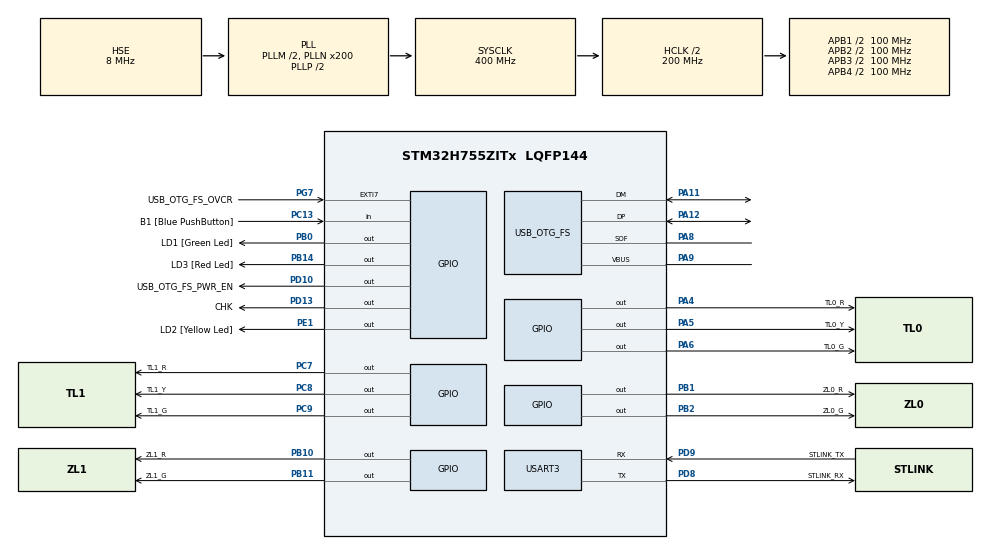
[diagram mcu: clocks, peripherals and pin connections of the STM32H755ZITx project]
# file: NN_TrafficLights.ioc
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CortexM4.IPs=FATFS_M4\:I,FREERTOS_M4\:I,IWDG2\:I,RCC,WWDG2\:I,DMA,BDMA,MDMA,NVIC2\:I,DEBUG,USB_DEVICE_M4\:I,USB_HOST_M4\:I,PDM2PCM_M4\:I,PWR,RESMGR_UTILITY,SYS_M4\:I,CORTEX_M4\:I,OPENAMP_M4\:I,VREFBUF
CortexM7.IPs=FATFS_M7\:I,FREERTOS_M7\:I,IWDG1\:I,RCC\:I,WWDG1\:I,DMA\:I,BDMA\:I,MDMA\:I,NVIC1\:I,USART3\:I,USB_OTG_FS\:I,SYS\:I,CORTEX_M7\:I,DEBUG\:I,USB_DEVICE_M7\:I,USB_HOST_M7\:I,PDM2PCM_M7\:I,PWR\:I,RESMGR_UTILITY\:I,OPENAMP_M7\:I,VREFBUF\:I,TIM2\:I,TIM4\:I,RNG\:I
CortexM7.Pins=PA4,PA5,PA6,PB0,PB1,PB2,PB10,PB11,PB14,PD13,PC7,PC8,PC9,PE1
Mcu.Family=STM32H7
Mcu.Name=STM32H755ZITx
Mcu.Package=LQFP144
NVIC1.PriorityGroup=NVIC_PRIORITYGROUP_4
NVIC1.TIM2_IRQn=true\:0\:0\:false\:false\:true\:true\:true
NVIC1.TIM4_IRQn=true\:0\:0\:false\:false\:true\:true\:true
NVIC1.USART3_IRQn=true\:0\:0\:false\:false\:true\:true\:true
NVIC2.PriorityGroup=NVIC_PRIORITYGROUP_4
PA11.Mode=Device_Only
PA11.PinAttribute=CortexM7
PA11.Signal=USB_OTG_FS_DM
PA12.Mode=Device_Only
PA12.PinAttribute=CortexM7
PA12.Signal=USB_OTG_FS_DP
PA4.GPIO_Label=TL0_R
PA4.PinAttribute=CortexM7
PA4.Signal=GPIO_Output
PA5.GPIO_Label=TL0_Y
PA5.PinAttribute=CortexM7
PA5.Signal=GPIO_Output
PA6.GPIO_Label=TL0_G
PA6.PinAttribute=CortexM7
PA6.Signal=GPIO_Output
PA8.Mode=Activate_SOF_FS
PA8.PinAttribute=CortexM7
PA8.Signal=USB_OTG_FS_SOF
PA9.Mode=Activate_VBUS
PA9.PinAttribute=CortexM7
PA9.Signal=USB_OTG_FS_VBUS
PB0.GPIO_Label=LD1 [Green Led]
PB0.PinAttribute=CortexM7
PB0.Signal=GPIO_Output
PB1.GPIO_Label=ZL0_R
PB1.PinAttribute=CortexM7
PB1.Signal=GPIO_Output
PB10.GPIO_Label=ZL1_R
PB10.PinAttribute=CortexM7
PB10.Signal=GPIO_Output
PB11.GPIO_Label=ZL1_G
PB11.PinAttribute=CortexM7
PB11.Signal=GPIO_Output
PB14.GPIO_Label=LD3 [Red Led]
PB14.PinAttribute=CortexM7
PB14.Signal=GPIO_Output
PB2.GPIO_Label=ZL0_G
PB2.PinAttribute=CortexM7
PB2.Signal=GPIO_Output
PC13.GPIO_Label=B1 [Blue PushButton]
PC13.PinAttribute=Free
PC13.Signal=GPIO_Input
PC14-OSC32_IN\ (OSC32_IN).Mode=LSE-External-Oscillator
PC14-OSC32_IN\ (OSC32_IN).PinAttribute=CortexM7
PC14-OSC32_IN\ (OSC32_IN).Signal=RCC_OSC32_IN
PC15-OSC32_OUT\ (OSC32_OUT).Mode=LSE-External-Oscillator
PC15-OSC32_OUT\ (OSC32_OUT).PinAttribute=CortexM7
PC15-OSC32_OUT\ (OSC32_OUT).Signal=RCC_OSC32_OUT
PC7.GPIO_Label=TL1_R
PC7.PinAttribute=CortexM7
PC7.Signal=GPIO_Output
PC8.GPIO_Label=TL1_Y
PC8.PinAttribute=CortexM7
PC8.Signal=GPIO_Output
PC9.GPIO_Label=TL1_G
PC9.PinAttribute=CortexM7
PC9.Signal=GPIO_Output
PD10.GPIO_Label=USB_OTG_FS_PWR_EN
PD10.PinAttribute=Free
PD10.Signal=GPIO_Output
PD13.GPIO_Label=CHK
PD13.GPIO_Speed=GPIO_SPEED_FREQ_LOW
PD13.PinAttribute=CortexM7
PD13.PinState=GPIO_PIN_RESET
PD13.Signal=GPIO_Output
PD8.GPIO_Label=STLINK_RX
PD8.Mode=Asynchronous
PD8.PinAttribute=CortexM7
PD8.Signal=USART3_TX
PD9.GPIO_Label=STLINK_TX
PD9.Mode=Asynchronous
PD9.PinAttribute=CortexM7
PD9.Signal=USART3_RX
PE1.GPIO_Label=LD2 [Yellow Led]
PE1.PinAttribute=CortexM7
PE1.Signal=GPIO_Output
PG7.GPIO_Label=USB_OTG_FS_OVCR
PG7.PinAttribute=Free
PG7.Signal=GPXTI7
PH0-OSC_IN\ (PH0).Mode=HSE-External-Clock-Source
PH0-OSC_IN\ (PH0).PinAttribute=CortexM7
PH0-OSC_IN\ (PH0).Signal=RCC_OSC_IN
PH1-OSC_OUT\ (PH1).PinAttribute=CortexM7
PH1-OSC_OUT\ (PH1).Signal=RCC_OSC_OUT
ProjectManager.HeapSize=0x200
ProjectManager.StackSize=0x400
ProjectManager.TargetToolchain=STM32CubeIDE
RCC.ADCFreq_Value=16125000
RCC.APB1Freq_Value=100000000
RCC.APB2Freq_Value=100000000
RCC.APB3Freq_Value=100000000
RCC.APB4Freq_Value=100000000
RCC.CortexFreq_Value=400000000
RCC.D1PPRE=RCC_APB3_DIV2
RCC.D2PPRE1=RCC_APB1_DIV2
RCC.D2PPRE2=RCC_APB2_DIV2
RCC.D3PPRE=RCC_APB4_DIV2
RCC.DIVM1=2
RCC.DIVN1=200
RCC.DIVQ1=4
RCC.HCLKFreq_Value=200000000
RCC.HPRE=RCC_HCLK_DIV2
RCC.HRTIMCLockSelection=RCC_HRTIM1CLK_CPUCLK
RCC.HSE_VALUE=8000000
RCC.HSIDiv=RCC_PLLSAIDIVR_4
RCC.PLL2FRACN=0
RCC.PLL3FRACN=0
RCC.PLLFRACN=0
RCC.PLLSourceVirtual=RCC_PLLSOURCE_HSE
RCC.SYSCLKFreq_VALUE=400000000
RCC.SYSCLKSource=RCC_SYSCLKSOURCE_PLLCLK
RCC.SupplySource=PWR_DIRECT_SMPS_SUPPLY
RCC.USBCLockSelection=RCC_USBCLKSOURCE_HSI48
RCC.USBFreq_Value=48000000
TIM2.AutoReloadPreload=TIM_AUTORELOAD_PRELOAD_DISABLE
TIM2.ClockDivision=TIM_CLOCKDIVISION_DIV1
TIM2.Period=2500
TIM2.Prescaler=39999
TIM4.Period=10
TIM4.Prescaler=19999
USART3.VirtualMode-Asynchronous=VM_ASYNC
USB_OTG_FS.VirtualMode=Device_Only
VP_RNG_VS_RNG.Mode=RNG_Activate
VP_SYS_M4_VS_Systick.Mode=SysTick
VP_TIM2_VS_ClockSourceINT.Mode=Internal
VP_TIM4_VS_ClockSourceINT.Mode=Internal
board=NUCLEO-H755ZI-Q

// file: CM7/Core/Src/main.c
/* USER CODE BEGIN Header */
//  Controlling traffic lights at crossroads using a neural network
//
//	Adam Gawlik ~ University of Science and Technology in Kraków
//
/* USER CODE END Header */
#include "main.h"
#include "rng.h"
#include "tim.h"
#include "usart.h"
#include "usb_otg.h"
#include "gpio.h"

/* USER CODE BEGIN Includes */
#include "lights_nn.h"
#include "env_nn.h"
#include "stat_nn.h"
#include "stm32h7xx_it.h"
/* USER CODE END Includes */

/* USER CODE BEGIN PD */
#define TX_LENGTH 8
#define TX_LENGTH2 4
#define HSEM_ID_0 (0U) /* HW semaphore 0*/
/* USER CODE END PD */

/* USER CODE BEGIN PV */
uint8_t uart_buff[5];
int verbosity = 2;
int verbo_changed = 0;
/* USER CODE END PV */

void SystemClock_Config(void);

int main(void)
{

/* USER CODE BEGIN Boot_Mode_Sequence_0 */
  int32_t timeout;
/* USER CODE END Boot_Mode_Sequence_0 */

/* USER CODE BEGIN Boot_Mode_Sequence_1 */
  /* Wait until CPU2 boots and enters in stop mode or timeout*/
  timeout = 0xFFFF;
  while((__HAL_RCC_GET_FLAG(RCC_FLAG_D2CKRDY) != RESET) && (timeout-- > 0));
  if ( timeout < 0 )
  {
  Error_Handler();
  }
/* USER CODE END Boot_Mode_Sequence_1 */
  /* MCU Configuration--------------------------------------------------------*/

  /* Reset of all peripherals, Initializes the Flash interface and the Systick. */
  HAL_Init();

  /* Configure the system clock */
  SystemClock_Config();
/* USER CODE BEGIN Boot_Mode_Sequence_2 */
/* When system initialization is finished, Cortex-M7 will release Cortex-M4 by means of
HSEM notification */
/*HW semaphore Clock enable*/
__HAL_RCC_HSEM_CLK_ENABLE();
/*Take HSEM */
HAL_HSEM_FastTake(HSEM_ID_0);
/*Release HSEM in order to notify the CPU2(CM4)*/
HAL_HSEM_Release(HSEM_ID_0,0);
/* wait until CPU2 wakes up from stop mode */
timeout = 0xFFFF;
while((__HAL_RCC_GET_FLAG(RCC_FLAG_D2CKRDY) == RESET) && (timeout-- > 0));
if ( timeout < 0 )
{
Error_Handler();
}
/* USER CODE END Boot_Mode_Sequence_2 */

  /* Initialize all configured peripherals */
  MX_GPIO_Init();
  MX_USART3_UART_Init();
  MX_USB_OTG_FS_PCD_Init();
  MX_TIM2_Init();
  MX_TIM4_Init();
  MX_RNG_Init();
  /* USER CODE BEGIN 2 */

  HAL_TIM_Base_Start_IT(&htim2); // timer do generacji sinusa( funkcja w pliku z IRQ)
  HAL_TIM_Base_Start_IT(&htim4);
  HAL_RNG_MspInit(&hrng);
  HAL_UART_Receive_IT( &huart3, uart_buff, sizeof(uart_buff));

  /* USER CODE END 2 */

  /* Infinite loop */
  /* USER CODE BEGIN WHILE */

  strings_init();
  struct Environment env1;
  struct Statistic stat1;
  struct NN network1;
  lights_init(&lights, &env1, &stat1, &network1);
  second = 0;
  int timer15 = 0;
  //enter_inactive_lights(&lights);
  while (1)
  {

	if (verbo_changed == 1){
		change_verbosity();
	}

	if (second == 1){
		increment_time(&env1);
		update_lights(&lights);
		second = 0;
		timer15++;
	}

	if (half_second == 1){
		update_lights_halfsec(&lights);
		half_second = 0;
	}

	if (timer15 == 5){
		turn_on_lights(&lights);
		timer15++;
	}

    /* USER CODE END WHILE */

  }
}

void SystemClock_Config(void)
{
  RCC_OscInitTypeDef RCC_OscInitStruct = {0};
  RCC_ClkInitTypeDef RCC_ClkInitStruct = {0};
  RCC_PeriphCLKInitTypeDef PeriphClkInitStruct = {0};

  /** Supply configuration update enable
  */
  HAL_PWREx_ConfigSupply(PWR_DIRECT_SMPS_SUPPLY);
  /** Configure the main internal regulator output voltage
  */
  __HAL_PWR_VOLTAGESCALING_CONFIG(PWR_REGULATOR_VOLTAGE_SCALE1);

  while(!__HAL_PWR_GET_FLAG(PWR_FLAG_VOSRDY)) {}
  /** Initializes the RCC Oscillators according to the specified parameters
  * in the RCC_OscInitTypeDef structure.
  */
  RCC_OscInitStruct.OscillatorType = RCC_OSCILLATORTYPE_HSI48|RCC_OSCILLATORTYPE_HSE;
  RCC_OscInitStruct.HSEState = RCC_HSE_BYPASS;
  RCC_OscInitStruct.HSI48State = RCC_HSI48_ON;
  RCC_OscInitStruct.PLL.PLLState = RCC_PLL_ON;
  RCC_OscInitStruct.PLL.PLLSource = RCC_PLLSOURCE_HSE;
  RCC_OscInitStruct.PLL.PLLM = 2;
  RCC_OscInitStruct.PLL.PLLN = 200;
  RCC_OscInitStruct.PLL.PLLP = 2;
  RCC_OscInitStruct.PLL.PLLQ = 4;
  RCC_OscInitStruct.PLL.PLLR = 2;
  RCC_OscInitStruct.PLL.PLLRGE = RCC_PLL1VCIRANGE_2;
  RCC_OscInitStruct.PLL.PLLVCOSEL = RCC_PLL1VCOWIDE;
  RCC_OscInitStruct.PLL.PLLFRACN = 0;
  if (HAL_RCC_OscConfig(&RCC_OscInitStruct) != HAL_OK)
  {
    Error_Handler();
  }
  /** Initializes the CPU, AHB and APB buses clocks
  */
  RCC_ClkInitStruct.ClockType = RCC_CLOCKTYPE_HCLK|RCC_CLOCKTYPE_SYSCLK
                              |RCC_CLOCKTYPE_PCLK1|RCC_CLOCKTYPE_PCLK2
                              |RCC_CLOCKTYPE_D3PCLK1|RCC_CLOCKTYPE_D1PCLK1;
  RCC_ClkInitStruct.SYSCLKSource = RCC_SYSCLKSOURCE_PLLCLK;
  RCC_ClkInitStruct.SYSCLKDivider = RCC_SYSCLK_DIV1;
  RCC_ClkInitStruct.AHBCLKDivider = RCC_HCLK_DIV2;
  RCC_ClkInitStruct.APB3CLKDivider = RCC_APB3_DIV2;
  RCC_ClkInitStruct.APB1CLKDivider = RCC_APB1_DIV2;
  RCC_ClkInitStruct.APB2CLKDivider = RCC_APB2_DIV2;
  RCC_ClkInitStruct.APB4CLKDivider = RCC_APB4_DIV2;

  if (HAL_RCC_ClockConfig(&RCC_ClkInitStruct, FLASH_LATENCY_2) != HAL_OK)
  {
    Error_Handler();
  }
  PeriphClkInitStruct.PeriphClockSelection = RCC_PERIPHCLK_USART3|RCC_PERIPHCLK_RNG
                              |RCC_PERIPHCLK_USB;
  PeriphClkInitStruct.Usart234578ClockSelection = RCC_USART234578CLKSOURCE_D2PCLK1;
  PeriphClkInitStruct.RngClockSelection = RCC_RNGCLKSOURCE_HSI48;
  PeriphClkInitStruct.UsbClockSelection = RCC_USBCLKSOURCE_HSI48;
  if (HAL_RCCEx_PeriphCLKConfig(&PeriphClkInitStruct) != HAL_OK)
  {
    Error_Handler();
  }
  /** Enable USB Voltage detector
  */
  HAL_PWREx_EnableUSBVoltageDetector();
}

/* USER CODE BEGIN 4 */
void HAL_UART_RxCpltCallback(UART_HandleTypeDef *huart){
	char comp1[] = "debug";
	char temp1[5];
	int try = 1;
	for (int i = 0; i < 5; i++){
		temp1[i] = uart_buff[i];
	}
	for (int i = 0; i < 5; i++){
		if (temp1[i] != comp1[i]){
			try = 0;
		}
	}
	if (try == 1){
		verbo_changed = 1;
	}
	 HAL_UART_Receive_IT( &huart3, uart_buff, sizeof(uart_buff));
}

void HAL_UART_ErrorCallback(UART_HandleTypeDef *huart){
	char buffer[20];
	int num_of_chars = 0;
	num_of_chars = sprintf(buffer, "USART ERR!\n");
	HAL_UART_Transmit(&huart3, (uint8_t*)buffer, num_of_chars, 20);
}

void change_verbosity(void){
	char buffer[40];
	int num_of_chars = 0;
	verbo_changed = 0;
	verbosity++;
	if (verbosity == 3){
		verbosity = 0;
	}
	if (verbosity == 0){
		num_of_chars = sprintf(buffer, "*** VERBOSITY CHANGED TO LOW ***\n");
		HAL_UART_Transmit(&huart3, (uint8_t*)buffer, num_of_chars, 20);
	} else if (verbosity == 1){
		num_of_chars = sprintf(buffer, "*** VERBOSITY CHANGED TO MEDIUM ***\n");
		HAL_UART_Transmit(&huart3, (uint8_t*)buffer, num_of_chars, 20);
	} else if (verbosity == 2){
		num_of_chars = sprintf(buffer, "*** VERBOSITY CHANGED TO HIGH ***\n");
		HAL_UART_Transmit(&huart3, (uint8_t*)buffer, num_of_chars, 20);
	}
}

/* USER CODE END 4 */

void Error_Handler(void)
{
}

/************************ (C) COPYRIGHT STMicroelectronics *****END OF FILE****/
